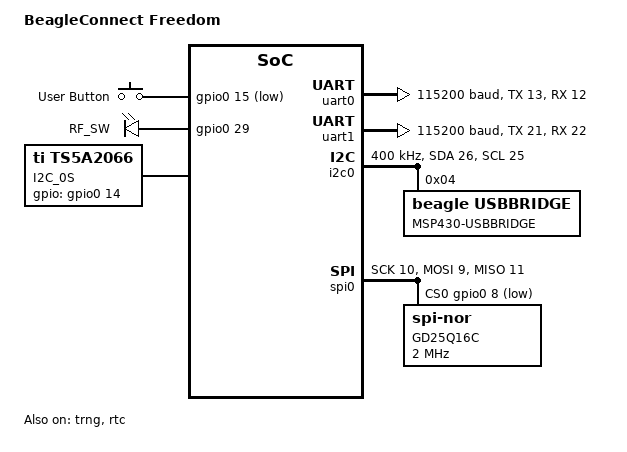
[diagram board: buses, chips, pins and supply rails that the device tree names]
/*
 * Copyright (c) 2020 Erik Larson
 * Copyright (c) 2020 Jason Kridner, BeagleBoard.org Foundation
 *
 * SPDX-License-Identifier: Apache-2.0
 */

/dts-v1/;

#include <ti/cc1352r.dtsi>
/*
 * Define some constants from driverlib/ioc.h in TI HAL,
 * since we don't have a way to include the file directly.
 */
#define IOC_PORT_MCU_UART0_TX 0x00000010
#define IOC_PORT_MCU_UART0_RX 0x0000000F
#define IOC_PORT_MCU_UART1_TX 0x00000014
#define IOC_PORT_MCU_UART1_RX 0x00000013

#define BTN_GPIO_FLAGS (GPIO_ACTIVE_LOW | GPIO_PULL_UP)

/ {
    model = "BeagleConnect Freedom";
    compatible = "beagle,beagleconnect-freedom";

    aliases {
        sw0 = &user_button_0;
        sensor0 = &light;
        sensor1 = &accel;
        sensor2 = &humidity;  /* Not populated on rev C4 */
    };

    chosen {
        zephyr,sram = &sram0;
        zephyr,console = &uart0;
        zephyr,shell-uart = &uart0;
        zephyr,flash = &flash0;
    };

    gpio_keys {
        compatible = "gpio-keys";
        user_button_0: button_0 {
            label = "User Button";
            gpios = <&gpio0 15 GPIO_ACTIVE_LOW>;
        };
    };

    /* Not really LEDs, but outputs */
    gpio_leds {
        compatible = "gpio-leds";

        /* U.FL connector switch */
        rf_sw: rf_sw {
            label = "RF_SW";
            gpios =
                <&gpio0 29 GPIO_ACTIVE_HIGH>, // SubG TX +20dB
                <&gpio0 30 GPIO_ACTIVE_HIGH>, // SubG TX/RX 0dB
                <&gpio0 18 GPIO_ACTIVE_HIGH>; // 2.4GHz TX/RX
        };
    };

    sens_i2c: sensor-switch {
        compatible = "ti,ts5a2066";
        #address-cells = <1>;
        #size-cells = <0>;
        controller = <&i2c0>;
        gpios = <&gpio0 14 GPIO_ACTIVE_HIGH>;
        label = "I2C_0S";

        accel: lis2dh12-accel@18 {
            compatible = "st,lis2dh12", "st,lis2dh", "st,lis2de12";
            reg = <0x18>;
            label = "LIS2DE12-ACCEL";
        };

        light: opt3001-light@44 {
            compatible = "ti,opt3001";
            reg = <0x44>;
            label = "OPT3001-LIGHT";
        };

        humidity: hdc2010-humidity@40 {
            compatible = "ti,hdc20x0";
            reg = <0x40>;
            label = "HDC2010-HUMIDITY";
        };
    };
};

&cpu0 {
    clock-frequency = <48000000>;
};

&trng {
    status = "okay";
};

&gpio0 {
    status = "okay";
};

&uart0 {
    status = "okay";
    current-speed = <115200>;
    tx-pin = <13 IOC_PORT_MCU_UART0_TX>;
    rx-pin = <12 IOC_PORT_MCU_UART0_RX>;
};

&uart1 {
    status = "okay";
    current-speed = <115200>;
    tx-pin = <21 IOC_PORT_MCU_UART1_TX>;
    rx-pin = <22 IOC_PORT_MCU_UART1_RX>;
};

&i2c0 {
    status = "okay";
    clock-frequency = <I2C_BITRATE_FAST>;
    scl-pin = <25>;
    sda-pin = <26>;

    mcu: msp430-usbbridge@4 {
        compatible = "beagle,usbbridge";
        reg = <0x4>;
        label = "MSP430-USBBRIDGE";
    };
};

&spi0 {
    status = "okay";
    sck-pin = <10>;
    mosi-pin = <9>;
    miso-pin = <11>;
    cs-gpios = <&gpio0 8 GPIO_ACTIVE_LOW>,
        <&gpio0 28 GPIO_ACTIVE_LOW>,  // mikroBUS port 1
        <&gpio0 27 GPIO_ACTIVE_LOW>;  // mikroBUS port 2
    nor_flash: gd25q16c@0 {
        compatible = "jedec,spi-nor";
        label = "GD25Q16C";
        reg = <0>;
        spi-max-frequency = <2000000>;
        size = <0x200000>;
        //has-be32k;
        has-dpd;
        t-enter-dpd = <20000>;
        t-exit-dpd = <100000>;
        jedec-id = [c8 40 15];
    };
};

&rtc {
    status = "okay";
};
